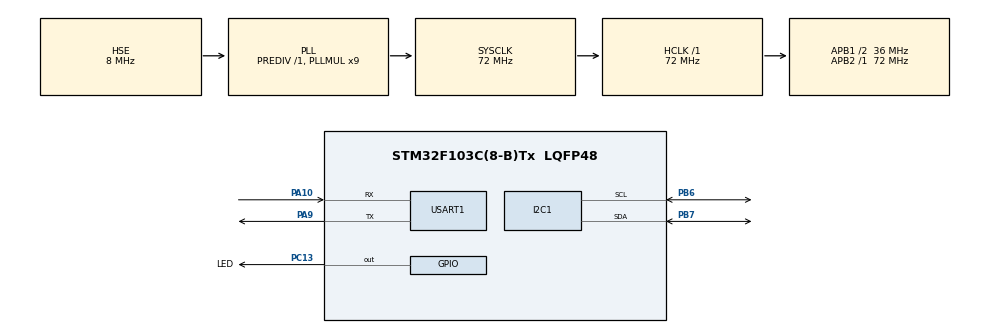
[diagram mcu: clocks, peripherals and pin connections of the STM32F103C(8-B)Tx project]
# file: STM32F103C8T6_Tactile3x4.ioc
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Dma.I2C1_RX.0.Direction=DMA_PERIPH_TO_MEMORY
Dma.I2C1_RX.0.Instance=DMA1_Channel7
Dma.I2C1_RX.0.MemDataAlignment=DMA_MDATAALIGN_BYTE
Dma.I2C1_RX.0.MemInc=DMA_MINC_ENABLE
Dma.I2C1_RX.0.Mode=DMA_NORMAL
Dma.I2C1_RX.0.PeriphDataAlignment=DMA_PDATAALIGN_BYTE
Dma.I2C1_RX.0.PeriphInc=DMA_PINC_DISABLE
Dma.I2C1_RX.0.Priority=DMA_PRIORITY_MEDIUM
Dma.Request0=I2C1_RX
Dma.Request1=USART1_TX
Dma.USART1_TX.1.Direction=DMA_MEMORY_TO_PERIPH
Dma.USART1_TX.1.Instance=DMA1_Channel4
Dma.USART1_TX.1.MemDataAlignment=DMA_MDATAALIGN_BYTE
Dma.USART1_TX.1.MemInc=DMA_MINC_ENABLE
Dma.USART1_TX.1.Mode=DMA_NORMAL
Dma.USART1_TX.1.PeriphDataAlignment=DMA_PDATAALIGN_BYTE
Dma.USART1_TX.1.PeriphInc=DMA_PINC_DISABLE
Dma.USART1_TX.1.Priority=DMA_PRIORITY_LOW
I2C1.GeneralCallMode=I2C_GENERALCALL_DISABLE
I2C1.I2C_Mode=I2C_Fast
I2C1.OwnAddress=0
Mcu.Family=STM32F1
Mcu.Name=STM32F103C(8-B)Tx
Mcu.Package=LQFP48
NVIC.DMA1_Channel4_IRQn=true\:0\:0\:false\:false\:true\:false\:true\:true
NVIC.DMA1_Channel7_IRQn=true\:0\:0\:false\:false\:true\:false\:true\:true
NVIC.PriorityGroup=NVIC_PRIORITYGROUP_4
NVIC.TIM4_IRQn=true\:0\:0\:false\:false\:true\:true\:true\:true
NVIC.USART1_IRQn=true\:0\:0\:false\:false\:true\:true\:true\:true
PA10.Mode=Asynchronous
PA10.Signal=USART1_RX
PA13.Mode=Serial_Wire
PA13.Signal=SYS_JTMS-SWDIO
PA14.Mode=Serial_Wire
PA14.Signal=SYS_JTCK-SWCLK
PA9.Mode=Asynchronous
PA9.Signal=USART1_TX
PB6.Mode=I2C
PB6.Signal=I2C1_SCL
PB7.Mode=I2C
PB7.Signal=I2C1_SDA
PC13-TAMPER-RTC.GPIO_Label=LED
PC13-TAMPER-RTC.Signal=GPIO_Output
PC14-OSC32_IN.Mode=LSE-External-Oscillator
PC14-OSC32_IN.Signal=RCC_OSC32_IN
PC15-OSC32_OUT.Mode=LSE-External-Oscillator
PC15-OSC32_OUT.Signal=RCC_OSC32_OUT
PD0-OSC_IN.Mode=HSE-External-Oscillator
PD0-OSC_IN.Signal=RCC_OSC_IN
PD1-OSC_OUT.Mode=HSE-External-Oscillator
PD1-OSC_OUT.Signal=RCC_OSC_OUT
ProjectManager.HeapSize=0x200
ProjectManager.StackSize=0x400
ProjectManager.TargetToolchain=MDK-ARM V5.32
RCC.AHBFreq_Value=72000000
RCC.APB1CLKDivider=RCC_HCLK_DIV2
RCC.APB1Freq_Value=36000000
RCC.APB1TimFreq_Value=72000000
RCC.APB2Freq_Value=72000000
RCC.APB2TimFreq_Value=72000000
RCC.HCLKFreq_Value=72000000
RCC.PLLMUL=RCC_PLL_MUL9
RCC.PLLSourceVirtual=RCC_PLLSOURCE_HSE
RCC.SYSCLKFreq_VALUE=72000000
RCC.SYSCLKSource=RCC_SYSCLKSOURCE_PLLCLK
RCC.USBFreq_Value=72000000
TIM4.Period=33333
TIM4.Prescaler=71
USART1.VirtualMode=VM_ASYNC
VP_TIM4_VS_ClockSourceINT.Mode=Internal
board=custom

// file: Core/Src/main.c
/* USER CODE BEGIN Header */
/**
	******************************************************************************
	* @file           : main.c
	* @brief          : Main program body
	******************************************************************************
	* @attention
	*
	* Copyright (c) 2025 STMicroelectronics.
	* All rights reserved.
	*
	* This software is licensed under terms that can be found in the LICENSE file
	* in the root directory of this software component.
	* If no LICENSE file comes with this software, it is provided AS-IS.
	*
	******************************************************************************
	*/
/* USER CODE END Header */
#include "main.h"
#include "dma.h"
#include "i2c.h"
#include "tim.h"
#include "usart.h"
#include "gpio.h"

/* USER CODE BEGIN Includes */
#include <stdio.h>
#include <string.h>
#include <stdbool.h>
#include "mlx90393.h"
#include "mlx90393x.h"
/* USER CODE END Includes */

/* USER CODE BEGIN PV */
uint16_t a = 0x01;
uint8_t datatosend = 0;
bool err_code = 0;
uint16_t config[12][10] = {0};
uint8_t i = 0;
uint8_t j = 0;
uint8_t code = 0;
MLX_data datax[12];
uint16_t temperature = 0;
MLX mlx[12];
float mlx_mat[12][3];
int16_t mlx_mat_raw[12][3];
int16_t frame[37];

/* USER CODE END PV */

void SystemClock_Config(void);

/* USER CODE BEGIN 0 */
int fputc(int ch, FILE *f){
	HAL_UART_Transmit(&huart1, (uint8_t *)&ch, 1, 0xFFFF);
	return ch;
}
/* USER CODE END 0 */

int main(void)
{

	/* MCU Configuration--------------------------------------------------------*/

	/* Reset of all peripherals, Initializes the Flash interface and the Systick. */
	HAL_Init();

	/* Configure the system clock */
	SystemClock_Config();

	/* Initialize all configured peripherals */
	MX_GPIO_Init();
	MX_DMA_Init();
	MX_I2C1_Init();
	MX_USART1_UART_Init();
	MX_TIM4_Init();
	/* USER CODE BEGIN 2 */
	printf("正在尝试获取IIC设备信息");
	HAL_Delay(5);

    //read all config from all sensors' registers
	for(i = 0; i<12;i++){
		for(j = 0; j<10; j++){
			code = mlx_read_reg(mlx_addr[i],j);
			if(code == 0){
				HAL_Delay(2);
				config[i][j]=((uint16_t)readfromreg[1])<<8 | readfromreg[2];
			}
			HAL_Delay(2);
		}
		//printf("0x%04x,0x%04x,0x%04x,0x%04x,0x%04x,0x%04x,0x%04x,0x%04x,0x%04x,0x%04x\n", config[i][0], config[i][1], config[i][2], config[i][3], config[i][4], config[i][5], config[i][6], config[i][7], config[i][8], config[i][9]);
	}

	code = mlx_config();
	if(code != 0){
		printf("发生错误: %d\n",code);
	}

    for(i = 0; i<12;i++){
	    for(j = 0; j<10; j++){
		    code = mlx_read_reg(mlx_addr[i],j);
			if(code == 0){
			    HAL_Delay(2);
			    config[i][j]=((uint16_t)readfromreg[1])<<8 | readfromreg[2];
			}else{
			    // printf("发生错误: %d\n",code);
		    }
		    HAL_Delay(2);
	    }
	    //printf("0x%04x,0x%04x,0x%04x,0x%04x,0x%04x,0x%04x,0x%04x,0x%04x,0x%04x,0x%04x\n", config[i][0], config[i][1], config[i][2], config[i][3], config[i][4], config[i][5], config[i][6], config[i][7], config[i][8], config[i][9]);
    }

	code = mlx_init();
	if(code != 0){
		printf("发生错误: %d\n",code);
	}
    frame[0] = 0x7FFF;
	/* USER CODE END 2 */

	/* Infinite loop */
	/* USER CODE BEGIN WHILE */
    while (1)
	{
		HAL_GPIO_TogglePin(LED_GPIO_Port, LED_Pin);

		for(i=0;i<12;i++){
            // Do data processing
		    mlx[i].addr = mlx_addr[i];
    		mlx_read_measure(mlx_addr[i]);
    		mlx_calc((MLX *)&(mlx[i]));

            // Sensor not functioning, quit.
            if(mlx[i].T>40)
			    break;
            // mlx_mat_raw[i][0]=mlx[i].X_raw;
            // mlx_mat_raw[i][1]=mlx[i].Y_raw;
            // mlx_mat_raw[i][2]=mlx[i].Z_raw;
            frame[i*3+1]=mlx[i].X_raw;
            frame[i*3+2]=mlx[i].Y_raw;
            frame[i*3+3]=mlx[i].Z_raw;

            mlx_mat[i][0]=mlx[i].X;
            mlx_mat[i][1]=mlx[i].Y;
            mlx_mat[i][2]=mlx[i].Z;
		}
		if(i==12){
            // All temperature data normal, enable data sending.
            HAL_TIM_Base_Start_IT(&htim4);
        }
			// 发送字符串
			// printf("%5.1f, %5.1f, %5.1f, %5.1f, %5.1f, %5.1f, %5.1f, %5.1f, %5.1f, %5.1f, %5.1f, %5.1f\n",
			//  mlx[0].X, mlx[1].X, mlx[2].X, mlx[3].X, mlx[4].X, mlx[5].X,
			//  mlx[6].X, mlx[7].X, mlx[8].X, mlx[9].X,mlx[10].X,mlx[11].X);
        // printf("%5.1f, %5.1f, %5.1f, %5.1f, %5.1f, %5.1f, %5.1f, %5.1f, %5.1f, %5.1f, %5.1f, %5.1f\n",
        //  mlx[0].Mag,mlx[1].Mag,mlx[2].Mag,mlx[3].Mag,mlx[4].Mag,mlx[5].Mag,
        //  mlx[6].Mag,mlx[7].Mag,mlx[8].Mag,mlx[9].Mag,mlx[10].Mag,mlx[11].Mag);
	}

	/* USER CODE END WHILE */

}

void SystemClock_Config(void)
{
	RCC_OscInitTypeDef RCC_OscInitStruct = {0};
	RCC_ClkInitTypeDef RCC_ClkInitStruct = {0};

	/** Initializes the RCC Oscillators according to the specified parameters
	* in the RCC_OscInitTypeDef structure.
	*/
	RCC_OscInitStruct.OscillatorType = RCC_OSCILLATORTYPE_HSE;
	RCC_OscInitStruct.HSEState = RCC_HSE_ON;
	RCC_OscInitStruct.HSEPredivValue = RCC_HSE_PREDIV_DIV1;
	RCC_OscInitStruct.HSIState = RCC_HSI_ON;
	RCC_OscInitStruct.PLL.PLLState = RCC_PLL_ON;
	RCC_OscInitStruct.PLL.PLLSource = RCC_PLLSOURCE_HSE;
	RCC_OscInitStruct.PLL.PLLMUL = RCC_PLL_MUL9;
	if (HAL_RCC_OscConfig(&RCC_OscInitStruct) != HAL_OK)
	{
		Error_Handler();
	}

	/** Initializes the CPU, AHB and APB buses clocks
	*/
	RCC_ClkInitStruct.ClockType = RCC_CLOCKTYPE_HCLK|RCC_CLOCKTYPE_SYSCLK
															|RCC_CLOCKTYPE_PCLK1|RCC_CLOCKTYPE_PCLK2;
	RCC_ClkInitStruct.SYSCLKSource = RCC_SYSCLKSOURCE_PLLCLK;
	RCC_ClkInitStruct.AHBCLKDivider = RCC_SYSCLK_DIV1;
	RCC_ClkInitStruct.APB1CLKDivider = RCC_HCLK_DIV2;
	RCC_ClkInitStruct.APB2CLKDivider = RCC_HCLK_DIV1;

	if (HAL_RCC_ClockConfig(&RCC_ClkInitStruct, FLASH_LATENCY_2) != HAL_OK)
	{
		Error_Handler();
	}
}

/* USER CODE BEGIN 4 */
void HAL_TIM_PeriodElapsedCallback(TIM_HandleTypeDef *htim){
    // TIM4 Trigger rate @~30Hz
	if(htim==(&htim4)){
        //All sensors functioning, send all data at once

        HAL_UART_Transmit_DMA(&huart1, (uint8_t *)&frame, sizeof(frame));
		// HAL_UART_Transmit_DMA(&huart1, (uint8_t *)&mlx_mat, sizeof(mlx_mat));
        // printf("%5.1f, %5.1f, %5.1f, %5.1f, %5.1f, %5.1f, %5.1f, %5.1f, %5.1f, %5.1f, %5.1f, %5.1f\n",
		// 	 mlx[0].X, mlx[1].X, mlx[2].X, mlx[3].X, mlx[4].X, mlx[5].X,
		// 	 mlx[6].X, mlx[7].X, mlx[8].X, mlx[9].X,mlx[10].X,mlx[11].X);
    }
}
/* USER CODE END 4 */

void Error_Handler(void)
{
	__disable_irq();
	while (1)
	{
	}
}
